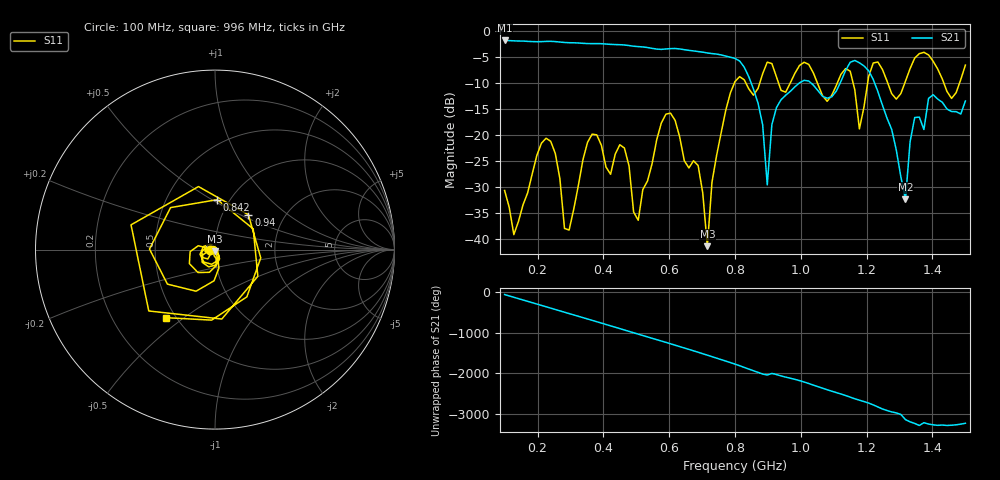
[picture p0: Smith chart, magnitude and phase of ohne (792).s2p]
! NanoVNA-App
! Date: 2025-09-25 14:26:58
! Start: 100MHz Stop: 1,5GHz Points: 101
! S-Parameter data: F S11 S21 S12 S22
# Hz S RI R 50
!  Frequency  S11_Real  S11_Imag  S21_Real  S21_Imag  S12_Real  S12_Imag  S22_Real  S22_Imag
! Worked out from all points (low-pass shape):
!   101 points, 100 MHz to 1.5 GHz, reference 50 ohm
!   highest |S21| = -1.80 dB at 100 MHz (marker M1); lowest = -32.4 dB at 1.318 GHz (marker M2)
!   |S21| within 3 dB of the highest: start of sweep to 771.4 MHz
!   lowest |S11| = -41.3 dB at 716 MHz (marker M3), VSWR 1.02, Z = 49.8 - j0.841 ohm
!   |S11| at or under -10 dB: start of sweep to 798.1 MHz; 833.2 MHz to 875.1 MHz (41.89 MHz wide, 4.9 % of centre); 1.051 GHz to 1.111 GHz (60.18 MHz wide, 5.57 % of centre) (the widest 3 of 7)
!   S12 and S22 are empty: the file has one direction only
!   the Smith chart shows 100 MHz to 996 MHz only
!   S11 on the Smith chart (normalised r, x): 100 MHz: 0.94, -0.01; 842 MHz: 0.88, +0.53; 940 MHz: 1.32, +0.56; 996 MHz: 0.44, -0.43
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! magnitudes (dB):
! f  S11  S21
! 100 MHz  -30.6  -1.8
! 128 MHz  -39.1  -1.9
! 226 MHz  -20.6  -2.0
! 296 MHz  -38.2  -2.2
! 338 MHz  -24.7  -2.3
! 464 MHz  -22.5  -2.7
! 506 MHz  -36.4  -3.0
! 576 MHz  -17.7  -3.5
! 688 MHz  -25.8  -3.9
! 716 MHz  -41.3  -4.2
! 800 MHz  -9.7  -5.3
! 842 MHz  -11.1  -8.8
! 898 MHz  -6.0  -29.6
! 940 MHz  -11.4  -13.2
! 996 MHz  -6.6  -9.9
! 1.038 GHz  -8.0  -10.4
! 1.178 GHz  -18.8  -6.1
! 1.22 GHz  -6.1  -9.3
! 1.276 GHz  -12.0  -18.9
! 1.318 GHz  -9.6  -32.4
! 1.346 GHz  -5.2  -16.6
! 1.5 GHz  -6.5  -13.4
